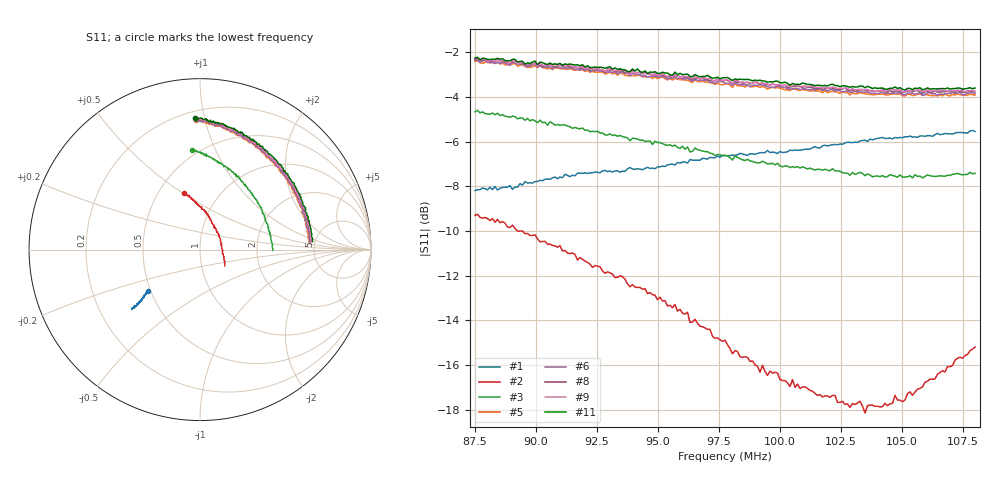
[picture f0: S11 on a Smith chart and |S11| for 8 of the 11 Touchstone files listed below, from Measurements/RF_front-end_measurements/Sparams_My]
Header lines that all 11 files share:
!Agilent Technologies,N5225A,MY51441201,A.09.90.19
!Agilent N5225A: A.09.90.19
!Correction: S11(Full 1 Port(1))
!S1P File: Measurement: S11:
# Hz S  dB  R 50
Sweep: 87.5 MHz to 108 MHz
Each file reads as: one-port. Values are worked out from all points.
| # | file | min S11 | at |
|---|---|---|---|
| 1 | 6.s1p | -8.2 dB | 87.5 MHz |
| 2 | 7.s1p | -18.1 dB | 103.5 MHz |
| 3 | 8.s1p | -7.6 dB | 105.4 MHz |
| 4 | 11.s1p | -4.2 dB | 105.8 MHz |
| 5 | 13.s1p | -3.9 dB | 107 MHz |
| 6 | 14.s1p | -3.9 dB | 105.8 MHz |
| 7 | 15.s1p | -3.9 dB | 105.1 MHz |
| 8 | 16.s1p | -3.8 dB | 105.8 MHz |
| 9 | 17.s1p | -3.8 dB | 105 MHz |
| 10 | 20.s1p | -3.7 dB | 106.2 MHz |
| 11 | 23.s1p | -3.7 dB | 105.1 MHz |
